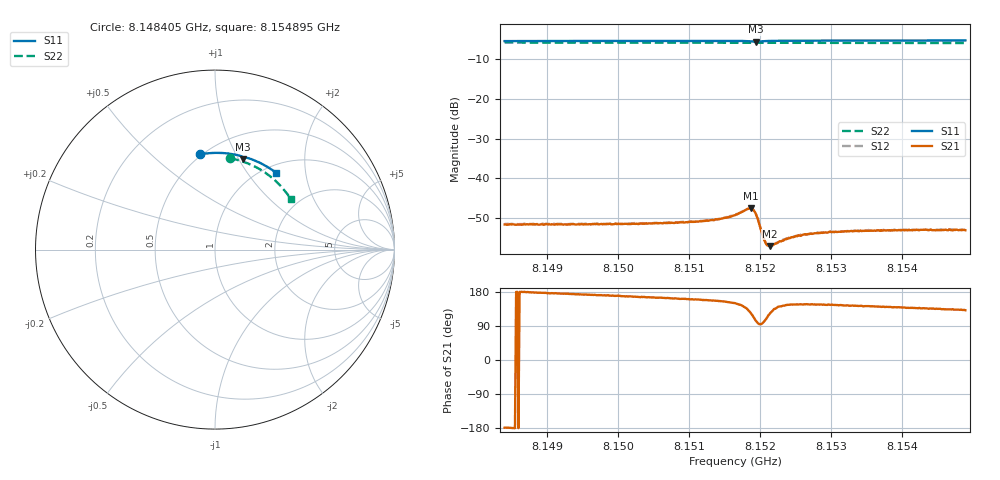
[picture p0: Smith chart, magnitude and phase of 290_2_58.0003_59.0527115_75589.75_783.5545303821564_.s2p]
#  HZ  S  RI  R  50.00
! Rohde & Schwarz Vector Network Analyzer
! Rohde-Schwarz,ZNB20-2Port,1311601062101988,3.16
! Created: UTC 3/21/2024, 1:03:15 AM
! freq[Hz]  re:S11  im:S11  re:S21  im:S21  re:S12  im:S12  re:S22  im:S22
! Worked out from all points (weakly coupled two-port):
!   401 points, 8.148405 GHz to 8.154895 GHz, reference 50 ohm
!   highest |S21| = -47.52 dB at 8.151877 GHz (marker M1); lowest = -57.0 dB at 8.152137 GHz (marker M2)
!   lowest |S11| = -5.5 dB at 8.151942 GHz (marker M3), VSWR 3.25, Z = 37.2 + j52.3 ohm
!   |S11| at or under -10 dB: nowhere
!   |S22| runs from -5.9 to -5.8 dB; largest |S21 - S12| = 0.00012
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8.1484048e9  -0.0817 0.5306  -0.00263 -6.41e-05  -0.00266 -4.81e-06  0.0849 0.5085
8.149492e9  -0.00646 0.5387  -0.00263 0.000336  -0.00267 0.000354  0.1537 0.491
8.1505791e9  0.0695 0.5361  -0.00264 0.000735  -0.00261 0.000778  0.2188 0.4643
8.1512281e9  0.1148 0.529  -0.0027 0.00109  -0.00273 0.00111  0.2556 0.4442
8.1514228e9  0.1288 0.5258  -0.00278 0.00127  -0.00281 0.00131  0.2663 0.4374
8.15165e9  0.1456 0.5205  -0.00298 0.00172  -0.00302 0.00182  0.2784 0.4294
8.1518122e9  0.1571 0.5128  -0.00294 0.00281  -0.0029 0.00288  0.287 0.4232
8.1518771e9  0.1591 0.508  -0.00225 0.00355  -0.00219 0.00357  0.2902 0.4209
8.1519096e9  0.1583 0.5059  -0.00159 0.00366  -0.00157 0.00372  0.2917 0.4194
8.151942e9  0.1569 0.5056  -0.000862 0.00351  -0.000857 0.00352  0.2934 0.4183
8.1519745e9  0.1562 0.5069  -0.000349 0.003  -0.000307 0.003  0.2949 0.4173
8.1520394e9  0.1589 0.5107  -0.000251 0.00191  -0.000225 0.00193  0.2982 0.415
8.1520719e9  0.1614 0.5118  -0.000405 0.00156  -0.000416 0.00157  0.3 0.4138
8.1521043e9  0.1642 0.5125  -0.000556 0.00132  -0.000558 0.00135  0.3018 0.4125
8.1521368e9  0.1671 0.5126  -0.000732 0.00121  -0.000752 0.00121  0.3033 0.4113
8.1521854e9  0.1711 0.5125  -0.000944 0.00109  -0.000932 0.00114  0.3059 0.4094
8.1524126e9  0.1884 0.5086  -0.00147 0.000981  -0.00147 0.00105  0.3174 0.4003
8.1525262e9  0.1964 0.5061  -0.00157 0.00102  -0.00157 0.00106  0.323 0.3955
8.1527371e9  0.2108 0.5009  -0.00168 0.00109  -0.00167 0.00113  0.3332 0.3868
8.1533212e9  0.2483 0.4846  -0.00174 0.0013  -0.00177 0.00132  0.3599 0.3609
8.1538242e9  0.2794 0.4684  -0.00171 0.00143  -0.0017 0.00144  0.3813 0.3371
8.1548951e9  0.3408 0.4274  -0.00147 0.00167  -0.00148 0.00171  0.4214 0.2827
